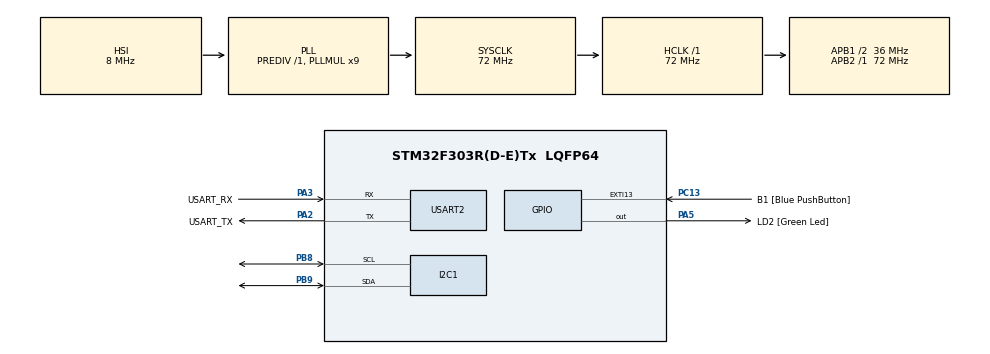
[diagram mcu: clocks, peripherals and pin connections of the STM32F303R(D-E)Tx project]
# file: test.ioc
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I2C1.Timing=0x00201D2B
Mcu.Family=STM32F3
Mcu.Name=STM32F303R(D-E)Tx
Mcu.Package=LQFP64
NVIC.PriorityGroup=NVIC_PRIORITYGROUP_0
PA13.GPIO_Label=TMS
PA13.Mode=Serial_Wire
PA13.Signal=SYS_JTMS-SWDIO
PA14.GPIO_Label=TCK
PA14.Mode=Serial_Wire
PA14.Signal=SYS_JTCK-SWCLK
PA2.GPIO_Label=USART_TX
PA2.GPIO_Mode=GPIO_MODE_AF_PP
PA2.GPIO_PuPd=GPIO_NOPULL
PA2.GPIO_Speed=GPIO_SPEED_FREQ_LOW
PA2.Mode=Asynchronous
PA2.Signal=USART2_TX
PA3.GPIO_Label=USART_RX
PA3.GPIO_Mode=GPIO_MODE_AF_PP
PA3.GPIO_PuPd=GPIO_NOPULL
PA3.GPIO_Speed=GPIO_SPEED_FREQ_LOW
PA3.Mode=Asynchronous
PA3.Signal=USART2_RX
PA5.GPIO_Label=LD2 [Green Led]
PA5.GPIO_Mode=GPIO_MODE_OUTPUT_PP
PA5.GPIO_PuPd=GPIO_NOPULL
PA5.GPIO_Speed=GPIO_SPEED_FREQ_LOW
PA5.Signal=GPIO_Output
PB3.GPIO_Label=SWO
PB3.Signal=SYS_JTDO-TRACESWO
PB8.Mode=I2C
PB8.Signal=I2C1_SCL
PB9.Mode=I2C
PB9.Signal=I2C1_SDA
PC13.GPIO_Label=B1 [Blue PushButton]
PC13.GPIO_ModeDefaultEXTI=GPIO_MODE_IT_FALLING
PC13.Signal=GPXTI13
PC14-OSC32_IN.Mode=LSE-External-Oscillator
PC14-OSC32_IN.Signal=RCC_OSC32_IN
PC15-OSC32_OUT.Mode=LSE-External-Oscillator
PC15-OSC32_OUT.Signal=RCC_OSC32_OUT
PF0-OSC_IN.Mode=HSE-External-Clock-Source
PF0-OSC_IN.Signal=RCC_OSC_IN
PF1-OSC_OUT.Signal=RCC_OSC_OUT
ProjectManager.HeapSize=0x200
ProjectManager.StackSize=0x400
ProjectManager.TargetToolchain=Makefile
RCC.AHBFreq_Value=72000000
RCC.APB1CLKDivider=RCC_HCLK_DIV2
RCC.APB1Freq_Value=36000000
RCC.APB1TimFreq_Value=72000000
RCC.APB2Freq_Value=72000000
RCC.APB2TimFreq_Value=72000000
RCC.CortexFreq_Value=72000000
RCC.HCLKFreq_Value=72000000
RCC.HSE_VALUE=8000000
RCC.HSI_VALUE=8000000
RCC.PLLM=8
RCC.PLLMUL=RCC_PLL_MUL9
RCC.PLLN=336
RCC.PLLP=RCC_PLLP_DIV4
RCC.PLLQ=7
RCC.RCC_PLLsource_Clock_Source_FROM_HSE=RCC_HSE_PREDIV_DIV2
RCC.SYSCLKFreq_VALUE=72000000
RCC.SYSCLKSourceVirtual=RCC_SYSCLKSOURCE_PLLCLK
RCC.USBFreq_Value=72000000
USART2.VirtualMode-Asynchronous=VM_ASYNC
board=NUCLEO-F303RE

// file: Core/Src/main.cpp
/* USER CODE BEGIN Header */
/**
  ******************************************************************************
  * @file           : main.c
  * @brief          : Main program body
  ******************************************************************************
  * @attention
  *
  * Copyright (c) 2024 STMicroelectronics.
  * All rights reserved.
  *
  * This software is licensed under terms that can be found in the LICENSE file
  * in the root directory of this software component.
  * If no LICENSE file comes with this software, it is provided AS-IS.
  *
  ******************************************************************************
  */
/* USER CODE END Header */
#include "main.h"

/* USER CODE BEGIN Includes */

#include "ADS1115.hpp"
#include <stdio.h>
#include <string.h>

/* USER CODE END Includes */

I2C_HandleTypeDef hi2c1;

UART_HandleTypeDef huart2;

/* USER CODE BEGIN PV */

static const uint8_t addr = 0x48 << 1;

/* USER CODE END PV */

void SystemClock_Config(void);
static void MX_GPIO_Init(void);
static void MX_I2C1_Init(void);
static void MX_USART2_UART_Init(void);

int main(void)
{

  /* MCU Configuration--------------------------------------------------------*/

  /* Reset of all peripherals, Initializes the Flash interface and the Systick. */
  HAL_Init();

  /* Configure the system clock */
  SystemClock_Config();

  /* Initialize all configured peripherals */
  MX_GPIO_Init();
  MX_I2C1_Init();
  MX_USART2_UART_Init();

  /* Infinite loop */
  /* USER CODE BEGIN WHILE */

  char buf[50];

  #define ADS1115_ADDRESS 0x48
  unsigned char ADSwrite[6];
  int16_t reading;
  float voltage;
  const float voltageConv = 6.114 / 32768.0;

  while (1)
  {
      ADSwrite[0] = 0x01;

      ADSwrite[1] = 0xF1;//0xC1;   // 1 100 000 1    ->    1100 0001   ->   C1 (in hex)      // pierwszy bajt

      ADSwrite[2] =0x83; // 100 0 0 0 11  kolejny bajt

      HAL_I2C_Master_Transmit(&hi2c1, ADS1115_ADDRESS<<1, ADSwrite, 3, 100);
      ADSwrite[0] = 0x00;
      HAL_I2C_Master_Transmit(&hi2c1, ADS1115_ADDRESS<<1, ADSwrite, 1, 100);
      HAL_Delay(20);
      HAL_I2C_Master_Receive(&hi2c1, ADS1115_ADDRESS<<1, ADSwrite, 2, 100);
      reading = ADSwrite[0] << 8 | ADSwrite[1];
      if(reading < 0)
      {
        reading = 0;
      }

      voltage = reading * voltageConv;

      sprintf(buf, "%f V\r\n", voltage);
      HAL_UART_Transmit(&huart2, (uint8_t*)buf, strlen(buf), HAL_MAX_DELAY);
      HAL_Delay(500);

    /* USER CODE END WHILE */

  }
}

void SystemClock_Config(void)
{
  RCC_OscInitTypeDef RCC_OscInitStruct = {0};
  RCC_ClkInitTypeDef RCC_ClkInitStruct = {0};
  RCC_PeriphCLKInitTypeDef PeriphClkInit = {0};

  /** Initializes the RCC Oscillators according to the specified parameters
  * in the RCC_OscInitTypeDef structure.
  */
  RCC_OscInitStruct.OscillatorType = RCC_OSCILLATORTYPE_HSI;
  RCC_OscInitStruct.HSIState = RCC_HSI_ON;
  RCC_OscInitStruct.HSICalibrationValue = RCC_HSICALIBRATION_DEFAULT;
  RCC_OscInitStruct.PLL.PLLState = RCC_PLL_ON;
  RCC_OscInitStruct.PLL.PLLSource = RCC_PLLSOURCE_HSI;
  RCC_OscInitStruct.PLL.PLLMUL = RCC_PLL_MUL9;
  RCC_OscInitStruct.PLL.PREDIV = RCC_PREDIV_DIV1;
  if (HAL_RCC_OscConfig(&RCC_OscInitStruct) != HAL_OK)
  {
    Error_Handler();
  }

  /** Initializes the CPU, AHB and APB buses clocks
  */
  RCC_ClkInitStruct.ClockType = RCC_CLOCKTYPE_HCLK|RCC_CLOCKTYPE_SYSCLK
                              |RCC_CLOCKTYPE_PCLK1|RCC_CLOCKTYPE_PCLK2;
  RCC_ClkInitStruct.SYSCLKSource = RCC_SYSCLKSOURCE_PLLCLK;
  RCC_ClkInitStruct.AHBCLKDivider = RCC_SYSCLK_DIV1;
  RCC_ClkInitStruct.APB1CLKDivider = RCC_HCLK_DIV2;
  RCC_ClkInitStruct.APB2CLKDivider = RCC_HCLK_DIV1;

  if (HAL_RCC_ClockConfig(&RCC_ClkInitStruct, FLASH_LATENCY_2) != HAL_OK)
  {
    Error_Handler();
  }
  PeriphClkInit.PeriphClockSelection = RCC_PERIPHCLK_USART2|RCC_PERIPHCLK_I2C1;
  PeriphClkInit.Usart2ClockSelection = RCC_USART2CLKSOURCE_PCLK1;
  PeriphClkInit.I2c1ClockSelection = RCC_I2C1CLKSOURCE_HSI;
  if (HAL_RCCEx_PeriphCLKConfig(&PeriphClkInit) != HAL_OK)
  {
    Error_Handler();
  }
}

static void MX_I2C1_Init(void)
{

  hi2c1.Instance = I2C1;
  hi2c1.Init.Timing = 0x00201D2B;
  hi2c1.Init.OwnAddress1 = 0;
  hi2c1.Init.AddressingMode = I2C_ADDRESSINGMODE_7BIT;
  hi2c1.Init.DualAddressMode = I2C_DUALADDRESS_DISABLE;
  hi2c1.Init.OwnAddress2 = 0;
  hi2c1.Init.OwnAddress2Masks = I2C_OA2_NOMASK;
  hi2c1.Init.GeneralCallMode = I2C_GENERALCALL_DISABLE;
  hi2c1.Init.NoStretchMode = I2C_NOSTRETCH_DISABLE;
  if (HAL_I2C_Init(&hi2c1) != HAL_OK)
  {
    Error_Handler();
  }

  /** Configure Analogue filter
  */
  if (HAL_I2CEx_ConfigAnalogFilter(&hi2c1, I2C_ANALOGFILTER_ENABLE) != HAL_OK)
  {
    Error_Handler();
  }

  /** Configure Digital filter
  */
  if (HAL_I2CEx_ConfigDigitalFilter(&hi2c1, 0) != HAL_OK)
  {
    Error_Handler();
  }

}

static void MX_USART2_UART_Init(void)
{

  huart2.Instance = USART2;
  huart2.Init.BaudRate = 38400;
  huart2.Init.WordLength = UART_WORDLENGTH_8B;
  huart2.Init.StopBits = UART_STOPBITS_1;
  huart2.Init.Parity = UART_PARITY_NONE;
  huart2.Init.Mode = UART_MODE_TX_RX;
  huart2.Init.HwFlowCtl = UART_HWCONTROL_NONE;
  huart2.Init.OverSampling = UART_OVERSAMPLING_16;
  huart2.Init.OneBitSampling = UART_ONE_BIT_SAMPLE_DISABLE;
  huart2.AdvancedInit.AdvFeatureInit = UART_ADVFEATURE_NO_INIT;
  if (HAL_UART_Init(&huart2) != HAL_OK)
  {
    Error_Handler();
  }

}

static void MX_GPIO_Init(void)
{
  GPIO_InitTypeDef GPIO_InitStruct = {0};

  /* GPIO Ports Clock Enable */
  __HAL_RCC_GPIOC_CLK_ENABLE();
  __HAL_RCC_GPIOF_CLK_ENABLE();
  __HAL_RCC_GPIOA_CLK_ENABLE();
  __HAL_RCC_GPIOB_CLK_ENABLE();

  /*Configure GPIO pin Output Level */
  HAL_GPIO_WritePin(LD2_GPIO_Port, LD2_Pin, GPIO_PIN_RESET);

  /*Configure GPIO pin : B1_Pin */
  GPIO_InitStruct.Pin = B1_Pin;
  GPIO_InitStruct.Mode = GPIO_MODE_IT_FALLING;
  GPIO_InitStruct.Pull = GPIO_NOPULL;
  HAL_GPIO_Init(B1_GPIO_Port, &GPIO_InitStruct);

  /*Configure GPIO pin : LD2_Pin */
  GPIO_InitStruct.Pin = LD2_Pin;
  GPIO_InitStruct.Mode = GPIO_MODE_OUTPUT_PP;
  GPIO_InitStruct.Pull = GPIO_NOPULL;
  GPIO_InitStruct.Speed = GPIO_SPEED_FREQ_LOW;
  HAL_GPIO_Init(LD2_GPIO_Port, &GPIO_InitStruct);

}

void Error_Handler(void)
{
  __disable_irq();
  while (1)
  {
  }
}
